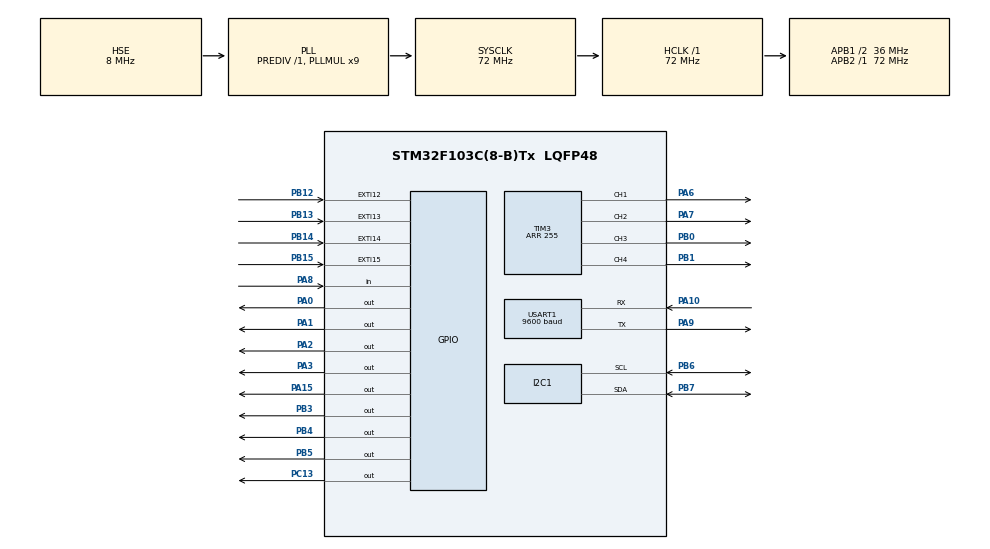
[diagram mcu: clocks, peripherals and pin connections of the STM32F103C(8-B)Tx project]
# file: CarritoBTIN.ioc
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Mcu.Family=STM32F1
Mcu.Name=STM32F103C(8-B)Tx
Mcu.Package=LQFP48
NVIC.EXTI15_10_IRQn=true\:0\:0\:true\:true\:true\:1\:true\:true\:true
NVIC.PriorityGroup=NVIC_PRIORITYGROUP_4
NVIC.TIM4_IRQn=true\:0\:0\:false\:true\:true\:2\:true\:true\:true
PA0-WKUP.Signal=GPIO_Output
PA1.Signal=GPIO_Output
PA10.Mode=Asynchronous
PA10.Signal=USART1_RX
PA13.Mode=Serial_Wire
PA13.Signal=SYS_JTMS-SWDIO
PA14.Mode=Serial_Wire
PA14.Signal=SYS_JTCK-SWCLK
PA15.Signal=GPIO_Output
PA2.Signal=GPIO_Output
PA3.Signal=GPIO_Output
PA6.Signal=S_TIM3_CH1
PA7.Signal=S_TIM3_CH2
PA8.GPIO_PuPd=GPIO_PULLDOWN
PA8.Signal=GPIO_Input
PA9.Mode=Asynchronous
PA9.Signal=USART1_TX
PB0.Signal=S_TIM3_CH3
PB1.Signal=S_TIM3_CH4
PB12.GPIO_PuPd=GPIO_PULLDOWN
PB12.Signal=GPXTI12
PB13.GPIO_PuPd=GPIO_PULLDOWN
PB13.Signal=GPXTI13
PB14.GPIO_PuPd=GPIO_PULLDOWN
PB14.Signal=GPXTI14
PB15.GPIO_PuPd=GPIO_PULLDOWN
PB15.Signal=GPXTI15
PB3.Signal=GPIO_Output
PB4.Signal=GPIO_Output
PB5.Signal=GPIO_Output
PB6.Mode=I2C
PB6.Signal=I2C1_SCL
PB7.Mode=I2C
PB7.Signal=I2C1_SDA
PC13-TAMPER-RTC.Signal=GPIO_Output
PC14-OSC32_IN.Mode=LSE-External-Oscillator
PC14-OSC32_IN.Signal=RCC_OSC32_IN
PC15-OSC32_OUT.Mode=LSE-External-Oscillator
PC15-OSC32_OUT.Signal=RCC_OSC32_OUT
PD0-OSC_IN.Mode=HSE-External-Oscillator
PD0-OSC_IN.Signal=RCC_OSC_IN
PD1-OSC_OUT.Mode=HSE-External-Oscillator
PD1-OSC_OUT.Signal=RCC_OSC_OUT
ProjectManager.HeapSize=0x200
ProjectManager.StackSize=0x400
ProjectManager.TargetToolchain=STM32CubeIDE
RCC.AHBFreq_Value=72000000
RCC.APB1CLKDivider=RCC_HCLK_DIV2
RCC.APB1Freq_Value=36000000
RCC.APB1TimFreq_Value=72000000
RCC.APB2Freq_Value=72000000
RCC.APB2TimFreq_Value=72000000
RCC.HCLKFreq_Value=72000000
RCC.PLLMUL=RCC_PLL_MUL9
RCC.PLLSourceVirtual=RCC_PLLSOURCE_HSE
RCC.SYSCLKFreq_VALUE=72000000
RCC.SYSCLKSource=RCC_SYSCLKSOURCE_PLLCLK
RCC.USBFreq_Value=72000000
SH.S_TIM3_CH1.0=TIM3_CH1,PWM Generation1 CH1
SH.S_TIM3_CH2.0=TIM3_CH2,PWM Generation2 CH2
SH.S_TIM3_CH3.0=TIM3_CH3,PWM Generation3 CH3
SH.S_TIM3_CH4.0=TIM3_CH4,PWM Generation4 CH4
TIM3.Channel-PWM\ Generation1\ CH1=TIM_CHANNEL_1
TIM3.Channel-PWM\ Generation2\ CH2=TIM_CHANNEL_2
TIM3.Channel-PWM\ Generation3\ CH3=TIM_CHANNEL_3
TIM3.Channel-PWM\ Generation4\ CH4=TIM_CHANNEL_4
TIM3.Period=255
TIM4.Period=10000-1
TIM4.Prescaler=720 - 1
USART1.BaudRate=9600
USART1.VirtualMode=VM_ASYNC
VP_TIM4_VS_ClockSourceINT.Mode=Internal
board=custom

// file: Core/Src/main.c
/* USER CODE BEGIN Header */
/**
  ******************************************************************************
  * @file           : main.c
  * @brief          : Main program body
  ******************************************************************************
  * @attention
  *
  * Copyright (c) 2023 STMicroelectronics.
  * All rights reserved.
  *
  * This software is licensed under terms that can be found in the LICENSE file
  * in the root directory of this software component.
  * If no LICENSE file comes with this software, it is provided AS-IS.
  *
  ******************************************************************************
  */
/* USER CODE END Header */
#include "main.h"

I2C_HandleTypeDef hi2c1;

TIM_HandleTypeDef htim3;
TIM_HandleTypeDef htim4;

UART_HandleTypeDef huart1;

/* USER CODE BEGIN PV */
char Data[3];

uint8_t pwm_lb;
uint8_t pwm_rb;
uint8_t pwm_rf;
uint8_t pwm_lf;

uint8_t flag = 0;

uint32_t Tiempo1;
uint32_t Tiempo2 = 0;
uint32_t Intervalo;

uint16_t rpm_rf;

/* USER CODE END PV */

void SystemClock_Config(void);
static void MX_GPIO_Init(void);
static void MX_I2C1_Init(void);
static void MX_TIM3_Init(void);
static void MX_USART1_UART_Init(void);
static void MX_TIM4_Init(void);
static void MX_NVIC_Init(void);

int main(void)
{
  /* USER CODE BEGIN 1 */
	char Data[100];
  /* USER CODE END 1 */

  /* MCU Configuration--------------------------------------------------------*/

  /* Reset of all peripherals, Initializes the Flash interface and the Systick. */
  HAL_Init();

  /* Configure the system clock */
  SystemClock_Config();

  /* Initialize all configured peripherals */
  MX_GPIO_Init();
  MX_I2C1_Init();
  MX_TIM3_Init();
  MX_USART1_UART_Init();
  MX_TIM4_Init();

  /* Initialize interrupts */
  MX_NVIC_Init();
  /* USER CODE BEGIN 2 */
  HAL_TIM_PWM_Start(&htim3, TIM_CHANNEL_1);
  HAL_TIM_PWM_Start(&htim3, TIM_CHANNEL_2);
  HAL_TIM_PWM_Start(&htim3, TIM_CHANNEL_3);
  HAL_TIM_PWM_Start(&htim3, TIM_CHANNEL_4);

  pwm_lb = 255;
  pwm_rb = 255;
  pwm_rf = 255;
  pwm_lf = 255;

  //Poner en libreria

  /* USER CODE END 2 */

  /* Infinite loop */
  while (1)
  {

    /* USER CODE BEGIN 3 */

	  __HAL_TIM_SET_COMPARE(&htim3, TIM_CHANNEL_1, pwm_rf);
	  __HAL_TIM_SET_COMPARE(&htim3, TIM_CHANNEL_2, pwm_lf);
	  __HAL_TIM_SET_COMPARE(&htim3, TIM_CHANNEL_3, pwm_lb);
	  __HAL_TIM_SET_COMPARE(&htim3, TIM_CHANNEL_4, pwm_rb);

	  	  HAL_GPIO_WritePin(GPIOA, GPIO_PIN_0, 0); //izq atras
		  HAL_GPIO_WritePin(GPIOA, GPIO_PIN_1, 1); //izq atras
		  HAL_GPIO_WritePin(GPIOA, GPIO_PIN_2, 1); //derehca atras
		  HAL_GPIO_WritePin(GPIOA, GPIO_PIN_3, 0); //derecha atrasa
		  HAL_GPIO_WritePin(GPIOA, GPIO_PIN_15, 0); //derecha enfrente
		  HAL_GPIO_WritePin(GPIOB, GPIO_PIN_3, 1); //derecha enfrente
		  HAL_GPIO_WritePin(GPIOB, GPIO_PIN_4, 1); //izq enfrente
		  HAL_GPIO_WritePin(GPIOB, GPIO_PIN_5, 0); // ezq enfrente

		  if(flag == 1){
			  Tiempo1 = HAL_GetTick();
			  Intervalo = Tiempo1 - Tiempo2;
			  Tiempo2 = Tiempo1;
			  flag = 0;
		  }

		  rpm_rf = (1/20) * 1000 * 60 / Intervalo;

		  uint8_t Num = sprintf(Data, "%u", rpm_rf);

		  HAL_UART_Transmit(&huart1, &Data, Num, 100);

  }
  /* USER CODE END 3 */
}

void SystemClock_Config(void)
{
  RCC_OscInitTypeDef RCC_OscInitStruct = {0};
  RCC_ClkInitTypeDef RCC_ClkInitStruct = {0};

  /** Initializes the RCC Oscillators according to the specified parameters
  * in the RCC_OscInitTypeDef structure.
  */
  RCC_OscInitStruct.OscillatorType = RCC_OSCILLATORTYPE_HSE;
  RCC_OscInitStruct.HSEState = RCC_HSE_ON;
  RCC_OscInitStruct.HSEPredivValue = RCC_HSE_PREDIV_DIV1;
  RCC_OscInitStruct.HSIState = RCC_HSI_ON;
  RCC_OscInitStruct.PLL.PLLState = RCC_PLL_ON;
  RCC_OscInitStruct.PLL.PLLSource = RCC_PLLSOURCE_HSE;
  RCC_OscInitStruct.PLL.PLLMUL = RCC_PLL_MUL9;
  if (HAL_RCC_OscConfig(&RCC_OscInitStruct) != HAL_OK)
  {
    Error_Handler();
  }

  /** Initializes the CPU, AHB and APB buses clocks
  */
  RCC_ClkInitStruct.ClockType = RCC_CLOCKTYPE_HCLK|RCC_CLOCKTYPE_SYSCLK
                              |RCC_CLOCKTYPE_PCLK1|RCC_CLOCKTYPE_PCLK2;
  RCC_ClkInitStruct.SYSCLKSource = RCC_SYSCLKSOURCE_PLLCLK;
  RCC_ClkInitStruct.AHBCLKDivider = RCC_SYSCLK_DIV1;
  RCC_ClkInitStruct.APB1CLKDivider = RCC_HCLK_DIV2;
  RCC_ClkInitStruct.APB2CLKDivider = RCC_HCLK_DIV1;

  if (HAL_RCC_ClockConfig(&RCC_ClkInitStruct, FLASH_LATENCY_2) != HAL_OK)
  {
    Error_Handler();
  }
}

/**
  * @brief NVIC Configuration.
  * @retval None
  */
static void MX_NVIC_Init(void)
{
  /* EXTI15_10_IRQn interrupt configuration */
  HAL_NVIC_SetPriority(EXTI15_10_IRQn, 0, 0);
  HAL_NVIC_EnableIRQ(EXTI15_10_IRQn);
  /* TIM4_IRQn interrupt configuration */
  HAL_NVIC_SetPriority(TIM4_IRQn, 0, 0);
  HAL_NVIC_EnableIRQ(TIM4_IRQn);
}

static void MX_I2C1_Init(void)
{

  hi2c1.Instance = I2C1;
  hi2c1.Init.ClockSpeed = 100000;
  hi2c1.Init.DutyCycle = I2C_DUTYCYCLE_2;
  hi2c1.Init.OwnAddress1 = 0;
  hi2c1.Init.AddressingMode = I2C_ADDRESSINGMODE_7BIT;
  hi2c1.Init.DualAddressMode = I2C_DUALADDRESS_DISABLE;
  hi2c1.Init.OwnAddress2 = 0;
  hi2c1.Init.GeneralCallMode = I2C_GENERALCALL_DISABLE;
  hi2c1.Init.NoStretchMode = I2C_NOSTRETCH_DISABLE;
  if (HAL_I2C_Init(&hi2c1) != HAL_OK)
  {
    Error_Handler();
  }

}

static void MX_TIM3_Init(void)
{

  TIM_MasterConfigTypeDef sMasterConfig = {0};
  TIM_OC_InitTypeDef sConfigOC = {0};

  htim3.Instance = TIM3;
  htim3.Init.Prescaler = 0;
  htim3.Init.CounterMode = TIM_COUNTERMODE_UP;
  htim3.Init.Period = 255;
  htim3.Init.ClockDivision = TIM_CLOCKDIVISION_DIV1;
  htim3.Init.AutoReloadPreload = TIM_AUTORELOAD_PRELOAD_DISABLE;
  if (HAL_TIM_PWM_Init(&htim3) != HAL_OK)
  {
    Error_Handler();
  }
  sMasterConfig.MasterOutputTrigger = TIM_TRGO_RESET;
  sMasterConfig.MasterSlaveMode = TIM_MASTERSLAVEMODE_DISABLE;
  if (HAL_TIMEx_MasterConfigSynchronization(&htim3, &sMasterConfig) != HAL_OK)
  {
    Error_Handler();
  }
  sConfigOC.OCMode = TIM_OCMODE_PWM1;
  sConfigOC.Pulse = 0;
  sConfigOC.OCPolarity = TIM_OCPOLARITY_HIGH;
  sConfigOC.OCFastMode = TIM_OCFAST_DISABLE;
  if (HAL_TIM_PWM_ConfigChannel(&htim3, &sConfigOC, TIM_CHANNEL_1) != HAL_OK)
  {
    Error_Handler();
  }
  if (HAL_TIM_PWM_ConfigChannel(&htim3, &sConfigOC, TIM_CHANNEL_2) != HAL_OK)
  {
    Error_Handler();
  }
  if (HAL_TIM_PWM_ConfigChannel(&htim3, &sConfigOC, TIM_CHANNEL_3) != HAL_OK)
  {
    Error_Handler();
  }
  if (HAL_TIM_PWM_ConfigChannel(&htim3, &sConfigOC, TIM_CHANNEL_4) != HAL_OK)
  {
    Error_Handler();
  }
  HAL_TIM_MspPostInit(&htim3);

}

static void MX_TIM4_Init(void)
{

  TIM_ClockConfigTypeDef sClockSourceConfig = {0};
  TIM_MasterConfigTypeDef sMasterConfig = {0};

  htim4.Instance = TIM4;
  htim4.Init.Prescaler = 720 - 1;
  htim4.Init.CounterMode = TIM_COUNTERMODE_UP;
  htim4.Init.Period = 10000-1;
  htim4.Init.ClockDivision = TIM_CLOCKDIVISION_DIV1;
  htim4.Init.AutoReloadPreload = TIM_AUTORELOAD_PRELOAD_DISABLE;
  if (HAL_TIM_Base_Init(&htim4) != HAL_OK)
  {
    Error_Handler();
  }
  sClockSourceConfig.ClockSource = TIM_CLOCKSOURCE_INTERNAL;
  if (HAL_TIM_ConfigClockSource(&htim4, &sClockSourceConfig) != HAL_OK)
  {
    Error_Handler();
  }
  sMasterConfig.MasterOutputTrigger = TIM_TRGO_RESET;
  sMasterConfig.MasterSlaveMode = TIM_MASTERSLAVEMODE_DISABLE;
  if (HAL_TIMEx_MasterConfigSynchronization(&htim4, &sMasterConfig) != HAL_OK)
  {
    Error_Handler();
  }

}

static void MX_USART1_UART_Init(void)
{

  huart1.Instance = USART1;
  huart1.Init.BaudRate = 9600;
  huart1.Init.WordLength = UART_WORDLENGTH_8B;
  huart1.Init.StopBits = UART_STOPBITS_1;
  huart1.Init.Parity = UART_PARITY_NONE;
  huart1.Init.Mode = UART_MODE_TX_RX;
  huart1.Init.HwFlowCtl = UART_HWCONTROL_NONE;
  huart1.Init.OverSampling = UART_OVERSAMPLING_16;
  if (HAL_UART_Init(&huart1) != HAL_OK)
  {
    Error_Handler();
  }

}

static void MX_GPIO_Init(void)
{
  GPIO_InitTypeDef GPIO_InitStruct = {0};

  /* GPIO Ports Clock Enable */
  __HAL_RCC_GPIOC_CLK_ENABLE();
  __HAL_RCC_GPIOD_CLK_ENABLE();
  __HAL_RCC_GPIOA_CLK_ENABLE();
  __HAL_RCC_GPIOB_CLK_ENABLE();

  /*Configure GPIO pin Output Level */
  HAL_GPIO_WritePin(GPIOC, GPIO_PIN_13, GPIO_PIN_RESET);

  /*Configure GPIO pin Output Level */
  HAL_GPIO_WritePin(GPIOA, GPIO_PIN_0|GPIO_PIN_1|GPIO_PIN_2|GPIO_PIN_3
                          |GPIO_PIN_15, GPIO_PIN_RESET);

  /*Configure GPIO pin Output Level */
  HAL_GPIO_WritePin(GPIOB, GPIO_PIN_3|GPIO_PIN_4|GPIO_PIN_5, GPIO_PIN_RESET);

  /*Configure GPIO pin : PC13 */
  GPIO_InitStruct.Pin = GPIO_PIN_13;
  GPIO_InitStruct.Mode = GPIO_MODE_OUTPUT_PP;
  GPIO_InitStruct.Pull = GPIO_NOPULL;
  GPIO_InitStruct.Speed = GPIO_SPEED_FREQ_LOW;
  HAL_GPIO_Init(GPIOC, &GPIO_InitStruct);

  /*Configure GPIO pins : PA0 PA1 PA2 PA3
                           PA15 */
  GPIO_InitStruct.Pin = GPIO_PIN_0|GPIO_PIN_1|GPIO_PIN_2|GPIO_PIN_3
                          |GPIO_PIN_15;
  GPIO_InitStruct.Mode = GPIO_MODE_OUTPUT_PP;
  GPIO_InitStruct.Pull = GPIO_NOPULL;
  GPIO_InitStruct.Speed = GPIO_SPEED_FREQ_LOW;
  HAL_GPIO_Init(GPIOA, &GPIO_InitStruct);

  /*Configure GPIO pins : PB12 PB13 PB14 PB15 */
  GPIO_InitStruct.Pin = GPIO_PIN_12|GPIO_PIN_13|GPIO_PIN_14|GPIO_PIN_15;
  GPIO_InitStruct.Mode = GPIO_MODE_IT_RISING;
  GPIO_InitStruct.Pull = GPIO_PULLDOWN;
  HAL_GPIO_Init(GPIOB, &GPIO_InitStruct);

  /*Configure GPIO pin : PA8 */
  GPIO_InitStruct.Pin = GPIO_PIN_8;
  GPIO_InitStruct.Mode = GPIO_MODE_INPUT;
  GPIO_InitStruct.Pull = GPIO_PULLDOWN;
  HAL_GPIO_Init(GPIOA, &GPIO_InitStruct);

  /*Configure GPIO pins : PB3 PB4 PB5 */
  GPIO_InitStruct.Pin = GPIO_PIN_3|GPIO_PIN_4|GPIO_PIN_5;
  GPIO_InitStruct.Mode = GPIO_MODE_OUTPUT_PP;
  GPIO_InitStruct.Pull = GPIO_NOPULL;
  GPIO_InitStruct.Speed = GPIO_SPEED_FREQ_LOW;
  HAL_GPIO_Init(GPIOB, &GPIO_InitStruct);

}

/* USER CODE BEGIN 4 */
void HAL_GPIO_EXTI_Callback(uint16_t GPIO_Pin)
{
  /* Prevent unused argument(s) compilation warning */
  if(GPIO_Pin == GPIO_PIN_15){
	  //Right front wheel
	  flag = 1;

  }
}
/* USER CODE END 4 */

void Error_Handler(void)
{
  __disable_irq();
  while (1)
  {
  }
}
